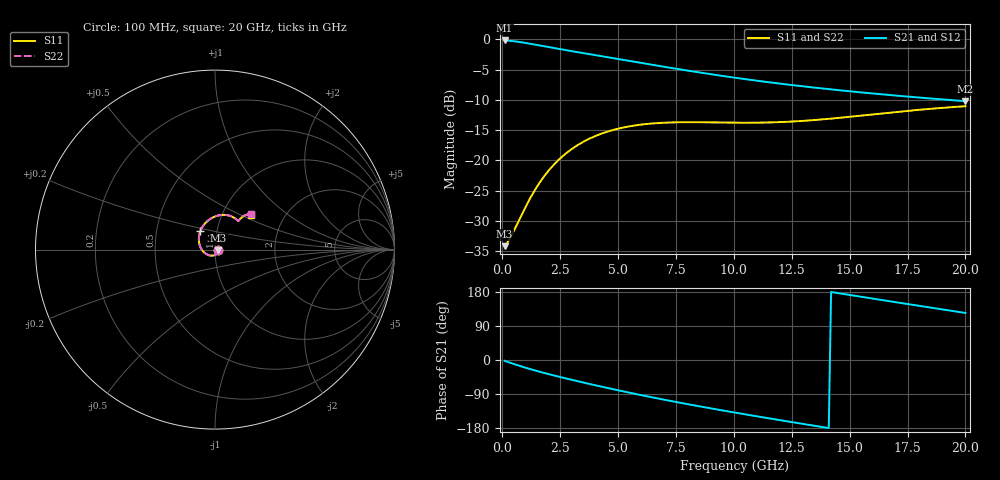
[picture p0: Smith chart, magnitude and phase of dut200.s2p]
! Touchstone file exported from HFSS 2023.1.0
!  File:  D:/Users/fzz/RDL_TSV/temp_RDL_TSV_200_1778756306.aedt
!  Generated:  7:07:10 %x4E0B%x5348  5%x6708 14, 2026
!  Design:  RDL_TSV
!  Project:  temp_RDL_TSV_200_1778756306
!  Setup:  Setup1
!  Solution:  Sweep
! Variables:
!  dtsv = 16.94um
!  hbump = 3um
!  htsv = 66.9um
!  ldown = 541.16um
!  lrdl = 432.98um
!  p = 40
!  p1 = 47.09um
!  rhole = 10um
!  subl = 3355.4um
!  t = 450um
!  tdown = 2.01um
!  trdl = 2.9um
!  viad = 10um
!  wdown = 27.34um
!  wrdl = 24.41um
!  xbump = 18um
# GHz S MA R 50.000000
! Terminal data exported
! Port[1] = TM1_1_T1
! Port[2] = TM1_4_T1
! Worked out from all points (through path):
!   200 points, 100 MHz to 20 GHz, reference 50 ohm
!   highest |S21| = -0.18 dB at 100 MHz (marker M1); lowest = -10.2 dB at 20 GHz (marker M2)
!   group delay of S21, straight-line fit = 31.1 ps
!   lowest |S11| = -34.2 dB at 100 MHz (marker M3), VSWR 1.04, Z = 51.9 - j0.498 ohm
!   |S11| at or under -10 dB: start of sweep to end of sweep
!   |S22| runs from -34.2 to -11.0 dB; largest |S21 - S12| = 2.8e-14
!   S11 on the Smith chart (normalised r, x): 100 MHz: 1.04, -0.01; 3.2 GHz: 0.83, +0.18; 20 GHz: 1.36, +0.58
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0.1  0.01958 -14.2  0.9799 -2.2  0.9799 -2.2  0.01958 -14.2
! Gamma 0 0 0 0
! Port Impedance 50 0 50 0
0.4  0.02404 -57.9  0.9701 -8.6  0.9701 -8.6  0.02403 -57.9
0.8  0.0344 -106.5  0.9482 -16.5  0.9482 -16.5  0.03439 -106.6
1.2  0.04858 -142.2  0.9209 -23.9  0.9209 -23.9  0.04859 -142.3
1.5  0.06079 -162.9  0.8991 -29.1  0.8991 -29.1  0.06082 -163.0
1.9  0.07805 175.0  0.8705 -35.7  0.8705 -35.7  0.07813 175.0
2.3  0.09547 157.4  0.8432 -41.9  0.8432 -41.9  0.0956 157.3
3.2  0.1319 128.0  0.7874 -55.2  0.7874 -55.2  0.1321 127.9
3.5  0.1426 120.2  0.7701 -59.5  0.7701 -59.5  0.1429 120.2
4.2  0.1642 105.0  0.7313 -69.2  0.7313 -69.2  0.1645 104.9
5  0.1829 91.1  0.6891 -79.9  0.6891 -79.9  0.1832 91.1
5.9  0.1967 78.8  0.6442 -91.5  0.6442 -91.5  0.197 78.8
6.8  0.2041 69.4  0.6024 -102.5  0.6024 -102.5  0.2044 69.4
7.6  0.2067 63.0  0.5683 -111.9  0.5683 -111.9  0.207 63.0
8.4  0.2069 58.2  0.5372 -121.0  0.5372 -121.0  0.2073 58.2
10.1  0.2051 52.4  0.4807 -139.4  0.4807 -139.4  0.2054 52.5
11.7  0.2064 50.7  0.4379 -155.8  0.4379 -155.8  0.2068 50.9
13.4  0.215 50.7  0.4012 -172.8  0.4012 -172.8  0.2156 50.9
15  0.2293 50.5  0.3727 171.6  0.3727 171.6  0.2302 50.7
16.7  0.2479 49.2  0.3474 155.3  0.3474 155.3  0.2491 49.5
18.4  0.2661 46.9  0.326 139.2  0.326 139.2  0.2677 47.1
20  0.2804 44.1  0.3087 124.1  0.3087 124.1  0.2824 44.4
